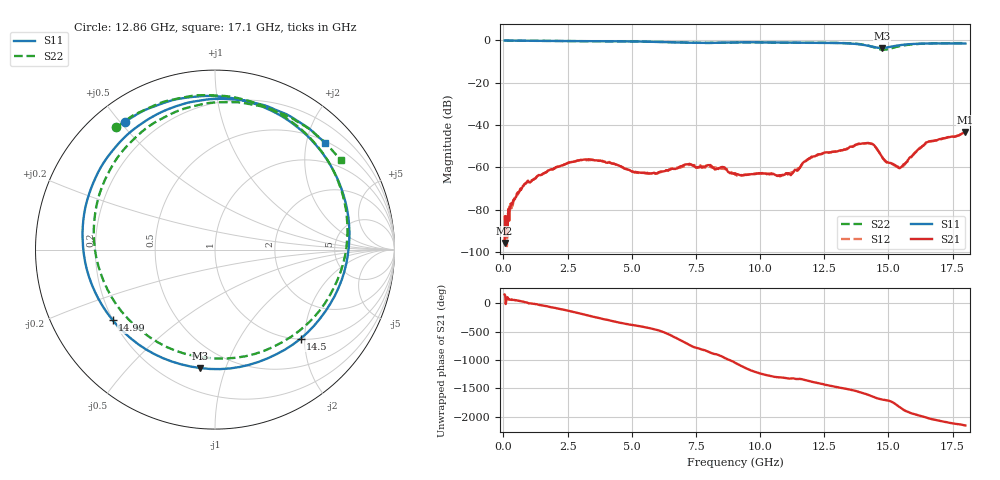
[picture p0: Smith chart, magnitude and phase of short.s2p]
!Agilent Technologies,E8364A,US41440284,A.06.04.32
!Agilent E8364A: A.06.04.32
!Date: Friday, December 06, 2019 09:58:19
!Correction: S11(Full 2 Port(1,2)) S21(Full 2 Port(1,2)) S12(Full 2 Port(1,2)) S22(Full 2 Port(1,2))
!S2P File: Measurements: S11, S21, S12, S22:
# Hz S  MA  R 50
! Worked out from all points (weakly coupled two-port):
!   801 points, 45 MHz to 18 GHz, reference 50 ohm
!   highest |S21| = -43.27 dB at 18 GHz (marker M1); lowest = -95.7 dB at 45 MHz (marker M2)
!   lowest |S11| = -3.5 dB at 14.75 GHz (marker M3), VSWR 4.97, Z = 17.4 - j41.1 ohm
!   |S11| at or under -10 dB: nowhere
!   |S22| runs from -4.4 to 0.0 dB; largest |S21 - S12| = 0.00019
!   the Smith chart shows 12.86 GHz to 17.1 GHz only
!   S11 on the Smith chart (normalised r, x): 12.86 GHz: 0.09, +0.51; 14.5 GHz: 1.01, -1.91; 14.99 GHz: 0.20, -0.30; 17.1 GHz: 0.54, +2.37
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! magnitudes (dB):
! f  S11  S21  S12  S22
! 45 MHz  0.0  -95.7  -82.7  0.0
! 247 MHz  -0.1  -79.6  -77.7  -0.1
! 897.9 MHz  -0.1  -67.2  -67.0  -0.2
! 3.052 GHz  -0.3  -56.5  -56.5  -0.3
! 4.175 GHz  -0.4  -58.0  -57.8  -0.4
! 5.117 GHz  -0.5  -62.2  -62.2  -0.5
! 6.037 GHz  -0.7  -62.3  -62.4  -0.7
! 7.205 GHz  -1.1  -58.4  -58.9  -1.0
! 8.551 GHz  -1.0  -59.8  -60.7  -1.1
! 9.023 GHz  -0.9  -63.1  -63.3  -1.0
! 11.18 GHz  -1.0  -63.4  -62.6  -1.1
! 12.03 GHz  -1.1  -54.9  -55.2  -1.1
! 12.86 GHz  -1.2  -52.5  -52.6  -1.2
! 13.92 GHz  -1.9  -48.8  -48.7  -1.8
! 14.5 GHz  -3.2  -50.3  -50.4  -3.5
! 14.75 GHz  -3.5  -54.9  -54.9  -4.3
! 14.99 GHz  -3.2  -57.7  -58.1  -4.1
! 15.01 GHz  -3.1  -57.8  -58.0  -4.0
! 15.49 GHz  -2.2  -60.0  -59.8  -2.6
! 16.47 GHz  -1.4  -48.1  -48.4  -1.5
! 17.1 GHz  -1.4  -46.4  -46.4  -1.3
! 18 GHz  -1.5  -43.3  -43.4  -1.3
